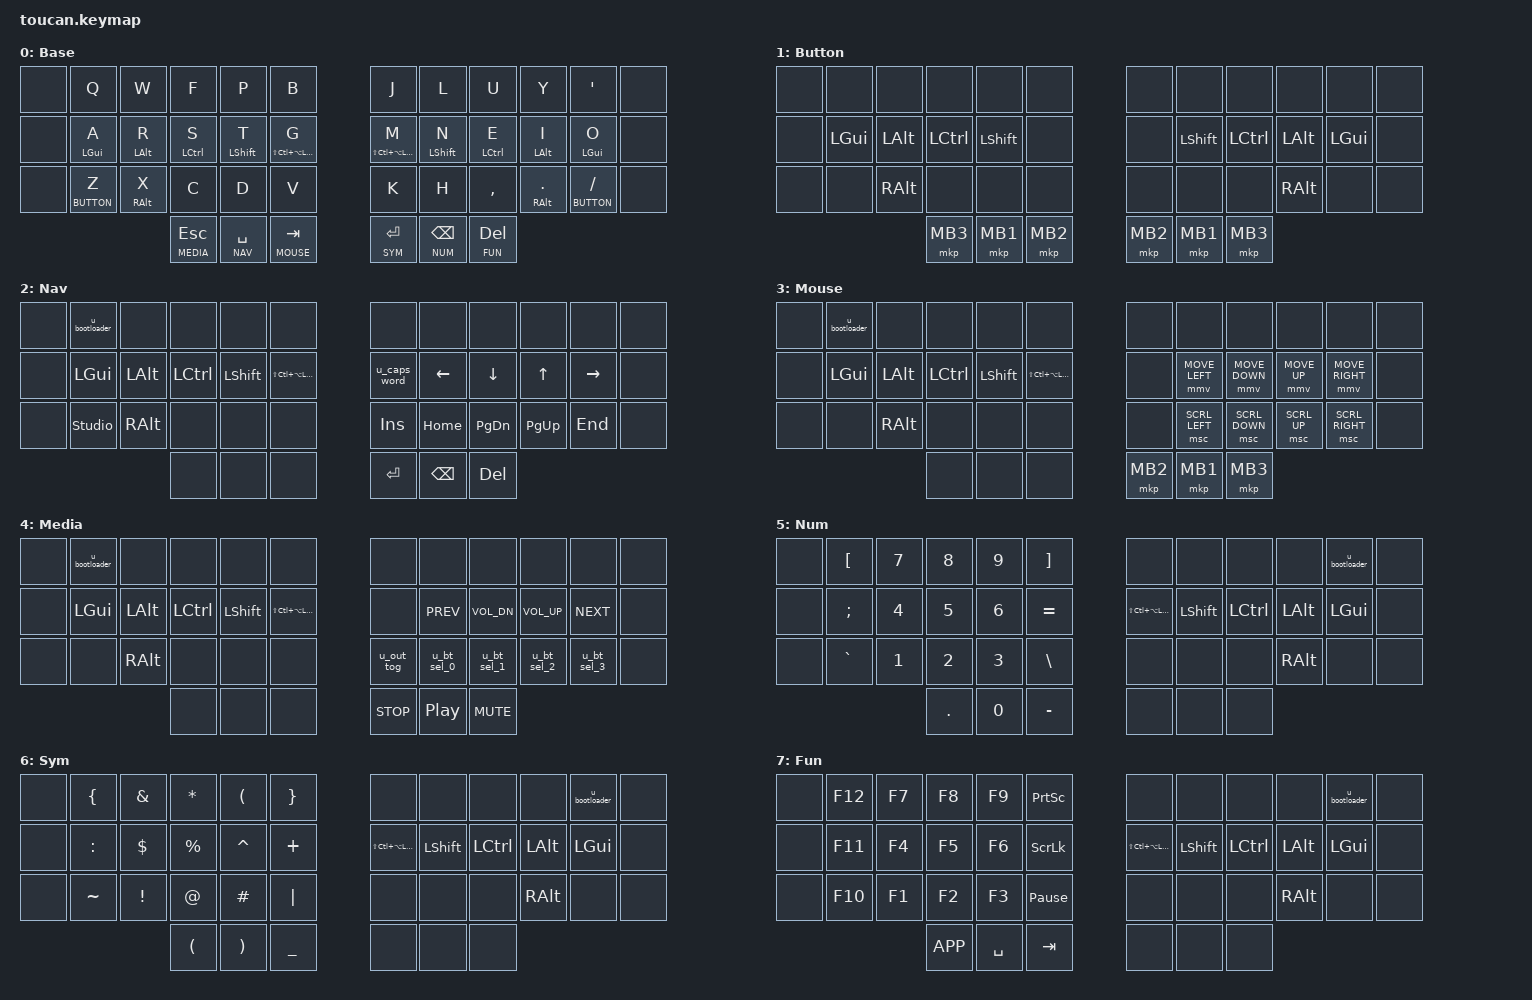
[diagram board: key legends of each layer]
#include <behaviors.dtsi>
#include <dt-bindings/zmk/keys.h>
#include <dt-bindings/zmk/bt.h>
#include <dt-bindings/zmk/outputs.h>
#include <dt-bindings/zmk/pointing.h>

// Layer indices
#define BASE   0
#define BUTTON 1
#define NAV    2
#define MOUSE  3
#define MEDIA  4
#define NUM    5
#define SYM    6
#define FUN    7

// Key position groups (42-key matrix; outer pinky columns absent on 36-key)
#define KEYS_L 0 1 2 3 4 5 12 13 14 15 16 17 24 25 26 27 28 29
#define KEYS_R 6 7 8 9 10 11 18 19 20 21 22 23 30 31 32 33 34 35
#define THUMBS 36 37 38 39 40 41

// Hyper = Shift+Ctrl+Alt+Cmd; same chord Karabiner sends for Caps Lock
#define HYPER LS(LC(LA(LGUI)))

/ {
    behaviors {
        // Home row mods, left hand: triggered by right-hand keys only
        // Config B: balanced + small idle guard, tuned for fast typing with shortcut-heavy use
        hml: home_row_mod_left {
            compatible = "zmk,behavior-hold-tap";
            #binding-cells = <2>;
            flavor = "balanced";
            tapping-term-ms = <200>;
            quick-tap-ms = <150>;
            require-prior-idle-ms = <50>;
            bindings = <&kp>, <&kp>;
            hold-trigger-key-positions = <KEYS_R THUMBS>;
            hold-trigger-on-release;
        };

        // Home row mods, right hand: triggered by left-hand keys only
        hmr: home_row_mod_right {
            compatible = "zmk,behavior-hold-tap";
            #binding-cells = <2>;
            flavor = "balanced";
            tapping-term-ms = <200>;
            quick-tap-ms = <150>;
            require-prior-idle-ms = <50>;
            bindings = <&kp>, <&kp>;
            hold-trigger-key-positions = <KEYS_L THUMBS>;
            hold-trigger-on-release;
        };

        // Bottom-row layer-tap, left (Z = BUTTON layer on hold)
        ltl: layer_tap_left {
            compatible = "zmk,behavior-hold-tap";
            #binding-cells = <2>;
            flavor = "balanced";
            tapping-term-ms = <200>;
            quick-tap-ms = <150>;
            require-prior-idle-ms = <50>;
            bindings = <&mo>, <&kp>;
            hold-trigger-key-positions = <KEYS_R THUMBS>;
            hold-trigger-on-release;
        };

        // Bottom-row layer-tap, right (/ = BUTTON layer on hold)
        ltr: layer_tap_right {
            compatible = "zmk,behavior-hold-tap";
            #binding-cells = <2>;
            flavor = "balanced";
            tapping-term-ms = <200>;
            quick-tap-ms = <150>;
            require-prior-idle-ms = <50>;
            bindings = <&mo>, <&kp>;
            hold-trigger-key-positions = <KEYS_L THUMBS>;
            hold-trigger-on-release;
        };

        // Thumb layer-tap (no positional filter)
        thumb_lt: thumb_layer_tap {
            compatible = "zmk,behavior-hold-tap";
            #binding-cells = <2>;
            flavor = "balanced";
            tapping-term-ms = <200>;
            quick-tap-ms = <175>;
            bindings = <&mo>, <&kp>;
        };

        // Double-tap to enter bootloader; single tap = no-op
        u_bootloader: u_bootloader {
            compatible = "zmk,behavior-tap-dance";
            #binding-cells = <0>;
            tapping-term-ms = <200>;
            bindings = <&none>, <&bootloader>;
        };

        // Tap = caps_word, Shift+tap = caps_lock
        u_caps_word: u_caps_word {
            compatible = "zmk,behavior-mod-morph";
            #binding-cells = <0>;
            bindings = <&caps_word>, <&kp CAPS>;
            mods = <(MOD_LSFT|MOD_RSFT)>;
        };

        // BT profile select; Shift+tap = clear all pairings
        u_bt_sel_0: u_bt_sel_0 {
            compatible = "zmk,behavior-mod-morph";
            #binding-cells = <0>;
            bindings = <&bt BT_SEL 0>, <&bt BT_CLR_ALL>;
            mods = <(MOD_LSFT|MOD_RSFT)>;
        };
        u_bt_sel_1: u_bt_sel_1 {
            compatible = "zmk,behavior-mod-morph";
            #binding-cells = <0>;
            bindings = <&bt BT_SEL 1>, <&bt BT_CLR_ALL>;
            mods = <(MOD_LSFT|MOD_RSFT)>;
        };
        u_bt_sel_2: u_bt_sel_2 {
            compatible = "zmk,behavior-mod-morph";
            #binding-cells = <0>;
            bindings = <&bt BT_SEL 2>, <&bt BT_CLR_ALL>;
            mods = <(MOD_LSFT|MOD_RSFT)>;
        };
        u_bt_sel_3: u_bt_sel_3 {
            compatible = "zmk,behavior-mod-morph";
            #binding-cells = <0>;
            bindings = <&bt BT_SEL 3>, <&bt BT_CLR_ALL>;
            mods = <(MOD_LSFT|MOD_RSFT)>;
        };

        // Tap = toggle BLE/USB output, Shift+tap = force USB
        u_out_tog: u_out_tog {
            compatible = "zmk,behavior-mod-morph";
            #binding-cells = <0>;
            bindings = <&out OUT_TOG>, <&out OUT_USB>;
            mods = <(MOD_LSFT|MOD_RSFT)>;
        };
    };

    keymap {
        compatible = "zmk,keymap";

        base {
            display-name = "Base";
            bindings = <
&none  &kp Q          &kp W         &kp F          &kp P           &kp B            &kp J     &kp L          &kp U          &kp Y           &kp SQT           &none
&none  &hml LGUI A    &hml LALT R   &hml LCTRL S   &hml LSHFT T    &hml HYPER G     &hmr HYPER M   &hmr LSHFT N   &hmr LCTRL E   &hmr LALT I     &hmr LGUI O       &none
&none  &ltl BUTTON Z  &hml RALT X   &kp C          &kp D           &kp V            &kp K     &kp H          &kp COMMA      &hmr RALT DOT   &ltr BUTTON FSLH  &none
                      &thumb_lt MEDIA ESC  &thumb_lt NAV SPACE  &thumb_lt MOUSE TAB    &thumb_lt SYM RET  &thumb_lt NUM BSPC  &thumb_lt FUN DEL
            >;
        };

        button {
            display-name = "Button";
            bindings = <
&none  &none     &none     &none      &none      &none        &none     &none      &none      &none     &none     &none
&none  &kp LGUI  &kp LALT  &kp LCTRL  &kp LSHFT  &none        &none     &kp LSHFT  &kp LCTRL  &kp LALT  &kp LGUI  &none
&none  &none     &kp RALT  &none      &none      &none        &none     &none      &none      &kp RALT  &none     &none
                           &mkp MB3   &mkp MB1   &mkp MB2     &mkp MB2  &mkp MB1   &mkp MB3
            >;
        };

        nav {
            display-name = "Nav";
            bindings = <
&none  &u_bootloader   &none     &none      &none      &none        &none         &none      &none      &none      &none      &none
&none  &kp LGUI        &kp LALT  &kp LCTRL  &kp LSHFT  &kp HYPER    &u_caps_word  &kp LEFT   &kp DOWN   &kp UP     &kp RIGHT  &none
&none  &studio_unlock  &kp RALT  &none      &none      &none        &kp INS       &kp HOME   &kp PG_DN  &kp PG_UP  &kp END    &none
                                 &none      &none      &none        &kp RET       &kp BSPC   &kp DEL
            >;
        };

        mouse {
            display-name = "Mouse";
            bindings = <
&none  &u_bootloader  &none     &none      &none      &none        &none     &none           &none           &none         &none            &none
&none  &kp LGUI       &kp LALT  &kp LCTRL  &kp LSHFT  &kp HYPER    &none     &mmv MOVE_LEFT  &mmv MOVE_DOWN  &mmv MOVE_UP  &mmv MOVE_RIGHT  &none
&none  &none          &kp RALT  &none      &none      &none        &none     &msc SCRL_LEFT  &msc SCRL_DOWN  &msc SCRL_UP  &msc SCRL_RIGHT  &none
                                &none      &none      &none        &mkp MB2  &mkp MB1        &mkp MB3
            >;
        };

        media {
            display-name = "Media";
            bindings = <
&none  &u_bootloader  &none     &none      &none      &none        &none       &none        &none         &none         &none        &none
&none  &kp LGUI       &kp LALT  &kp LCTRL  &kp LSHFT  &kp HYPER    &none       &kp C_PREV   &kp C_VOL_DN  &kp C_VOL_UP  &kp C_NEXT   &none
&none  &none          &kp RALT  &none      &none      &none        &u_out_tog  &u_bt_sel_0  &u_bt_sel_1   &u_bt_sel_2   &u_bt_sel_3  &none
                                &none      &none      &none        &kp C_STOP  &kp C_PP     &kp C_MUTE
            >;
        };

        num {
            display-name = "Num";
            bindings = <
&none  &kp LBKT   &kp N7  &kp N8   &kp N9  &kp RBKT       &none  &none      &none      &none     &u_bootloader  &none
&none  &kp SEMI   &kp N4  &kp N5   &kp N6  &kp EQUAL      &kp HYPER  &kp LSHFT  &kp LCTRL  &kp LALT  &kp LGUI       &none
&none  &kp GRAVE  &kp N1  &kp N2   &kp N3  &kp BSLH       &none  &none      &none      &kp RALT  &none          &none
                          &kp DOT  &kp N0  &kp MINUS      &none  &none      &none
            >;
        };

        sym {
            display-name = "Sym";
            bindings = <
&none  &kp LBRC   &kp AMPS  &kp ASTRK  &kp LPAR   &kp RBRC       &none  &none      &none      &none     &u_bootloader  &none
&none  &kp COLON  &kp DLLR  &kp PRCNT  &kp CARET  &kp PLUS       &kp HYPER  &kp LSHFT  &kp LCTRL  &kp LALT  &kp LGUI       &none
&none  &kp TILDE  &kp EXCL  &kp AT     &kp HASH   &kp PIPE       &none  &none      &none      &kp RALT  &none          &none
                            &kp LPAR   &kp RPAR   &kp UNDER      &none  &none      &none
            >;
        };

        fun {
            display-name = "Fun";
            bindings = <
&none  &kp F12  &kp F7  &kp F8     &kp F9     &kp PSCRN          &none  &none      &none      &none     &u_bootloader  &none
&none  &kp F11  &kp F4  &kp F5     &kp F6     &kp SLCK           &kp HYPER  &kp LSHFT  &kp LCTRL  &kp LALT  &kp LGUI       &none
&none  &kp F10  &kp F1  &kp F2     &kp F3     &kp PAUSE_BREAK    &none  &none      &none      &kp RALT  &none          &none
                        &kp K_APP  &kp SPACE  &kp TAB            &none  &none      &none
            >;
        };

        extra_1 {
            status = "reserved";
            display-name = "Extra 1";
        };

        extra_2 {
            status = "reserved";
            display-name = "Extra 2";
        };

        extra_3 {
            status = "reserved";
            display-name = "Extra 3";
        };
    };
};
